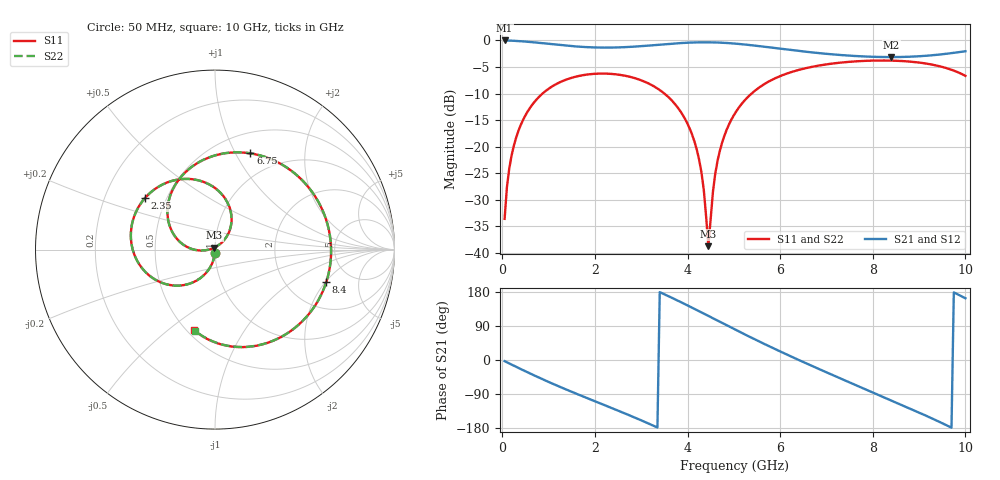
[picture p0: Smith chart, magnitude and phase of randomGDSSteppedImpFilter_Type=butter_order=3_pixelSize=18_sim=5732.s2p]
! freq	dB(S11)	phase(S11)	dB(S12)	phase(S12)
!  dB(S21)	phase(S21)	dB(S22)	phase(S22)
!S-par simulation data
#  GHz  S  DB  R 50
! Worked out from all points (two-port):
!   200 points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, 50 MHz to 10 GHz, reference 50 ohm
!   highest |S21| = -0.01 dB at 50 MHz (marker M1); lowest = -3.1 dB at 8.4 GHz (marker M2)
!   |S21| within 3 dB of the highest: start of sweep to 7.787 GHz; 8.941 GHz to end of sweep
!   lowest |S11| = -38.7 dB at 4.45 GHz (marker M3), VSWR 1.02, Z = 49.5 + j1.06 ohm
!   |S11| at or under -10 dB: start of sweep to 869.3 MHz; 3.501 GHz to 5.382 GHz (1.882 GHz wide, 42.4 % of centre)
!   |S22| runs from -38.3 to -3.8 dB; largest |S21 - S12| = 0
!   S11 on the Smith chart (normalised r, x): 50 MHz: 1.00, -0.04; 2.35 GHz: 0.38, +0.29; 6.75 GHz: 0.72, +1.15; 8.4 GHz: 3.30, -2.04; 10 GHz: 0.54, -0.62
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0.05  -33.57 -93.0  -0.01 -3.1  -0.01 -3.1  -33.57 -93.0
0.1  -27.59 -96.1  -0.02 -6.1  -0.02 -6.1  -27.59 -96.1
0.2  -21.67 -102.3  -0.05 -12.1  -0.05 -12.1  -21.67 -102.3
0.5  -14.08 -120.2  -0.22 -29.8  -0.22 -29.8  -14.08 -120.2
1.1  -8.53 -153.8  -0.74 -63.2  -0.74 -63.2  -8.53 -153.7
1.75  -6.53 173.0  -1.23 -96.5  -1.23 -96.5  -6.53 173.0
2.35  -6.30 143.5  -1.34 -126.1  -1.34 -126.1  -6.30 143.6
3.4  -9.33 89.6  -0.80 179.1  -0.80 179.1  -9.33 89.7
4.15  -19.04 49.5  -0.38 134.9  -0.38 134.9  -19.03 49.9
4.35  -28.05 48.0  -0.35 122.5  -0.35 122.5  -28.01 48.8
4.45  -38.71 112.4  -0.35 116.3  -0.35 116.3  -38.35 112.6
4.55  -28.36 -178.2  -0.37 110.1  -0.37 110.1  -28.32 -178.8
4.65  -22.57 -175.8  -0.40 103.8  -0.40 103.8  -22.56 -176.0
5.05  -13.37 165.2  -0.62 79.0  -0.62 79.0  -13.37 165.3
5.85  -7.30 119.3  -1.39 31.2  -1.39 31.2  -7.30 119.5
6.7  -4.95 72.5  -2.27 -16.3  -2.27 -16.3  -4.95 72.7
6.75  -4.86 69.8  -2.31 -19.0  -2.31 -19.0  -4.86 70.1
7.55  -3.99 27.7  -2.90 -61.8  -2.90 -61.8  -3.99 28.0
8.35  -3.79 -13.6  -3.13 -104.0  -3.13 -104.0  -3.79 -13.2
8.4  -3.80 -16.2  -3.13 -106.6  -3.13 -106.6  -3.80 -15.8
9.25  -4.50 -60.9  -2.82 -152.5  -2.82 -152.5  -4.50 -60.5
10  -6.66 -104.3  -2.04 162.9  -2.04 162.9  -6.66 -103.9
